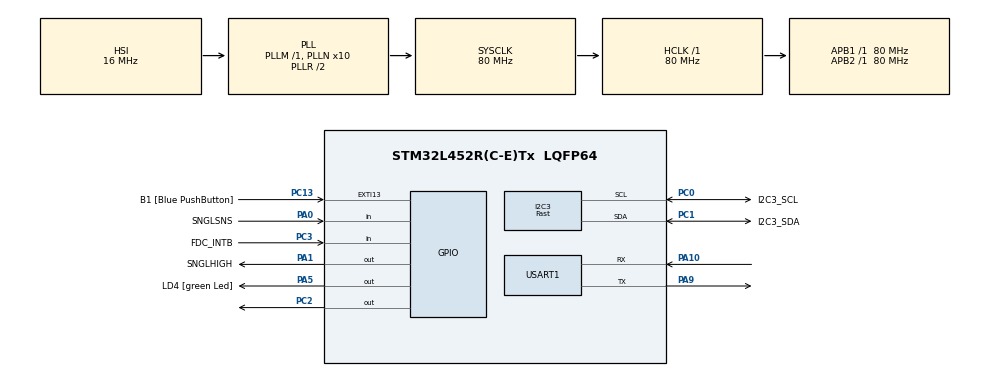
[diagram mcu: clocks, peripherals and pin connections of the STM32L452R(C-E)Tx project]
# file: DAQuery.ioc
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Mcu.Family=STM32L4
PA2.GPIO_PuPd=GPIO_NOPULL
RCC.CortexFreq_Value=80000000
PH0-OSC_IN\ (PH0).Signal=RCC_OSC_IN
PA3.GPIO_PuPd=GPIO_NOPULL
PA0.GPIO_Label=SNGLSNS
PA2.GPIO_Speed=GPIO_SPEED_FREQ_VERY_HIGH
PC0.GPIO_Label=I2C3_SCL
PC15-OSC32_OUT\ (PC15).Mode=LSE-External-Oscillator
PC13.GPIO_Label=B1 [Blue PushButton]
PA3.GPIO_Speed=GPIO_SPEED_FREQ_VERY_HIGH
RCC.SYSCLKSource=RCC_SYSCLKSOURCE_PLLCLK
ProjectManager.StackSize=0x400
PC14-OSC32_IN\ (PC14).Mode=LSE-External-Oscillator
PA14\ (JTCK/SWCLK).Signal=SYS_JTCK-SWCLK
TIM1.Prescaler=32
RCC.HCLKFreq_Value=80000000
RCC.APB2TimFreq_Value=80000000
PC3.Signal=GPIO_Input
PA1.GPIO_PuPd=GPIO_PULLUP
RCC.AHBFreq_Value=80000000
RCC.PREFETCH_ENABLE=1
RCC.HSE_VALUE=8000000
NVIC.I2C3_EV_IRQn=true\:0\:0\:false\:false\:true\:true\:true
PA13\ (JTMS/SWDIO).GPIO_Label=TMS
PA5.GPIO_PuPd=GPIO_NOPULL
PC13.GPIO_PuPd=GPIO_NOPULL
PA14\ (JTCK/SWCLK).Mode=Serial_Wire
VP_TIM1_VS_ClockSourceINT.Mode=Internal
PA0.Signal=GPIO_Input
Mcu.Package=LQFP64
PA0.GPIO_PuPd=GPIO_PULLDOWN
PA2.GPIO_Label=USART_TX
PA10.Signal=USART1_RX
PA1.PinState=GPIO_PIN_SET
PA14\ (JTCK/SWCLK).GPIO_Label=TCK
I2C3.Timing=0x00702991
RCC.APB1TimFreq_Value=80000000
TIM1.Period=3040
NVIC.USART1_IRQn=true\:0\:0\:false\:false\:true\:true\:true
RCC.HSI48_VALUE=48000000
PA3.Signal=USART2_RX
PA2.GPIO_Mode=GPIO_MODE_AF_PP
PB3\ (JTDO/TRACESWO).GPIO_Label=SWO
RCC.MSI_VALUE=4000000
RCC.PLLSourceVirtual=RCC_PLLSOURCE_HSI
PA13\ (JTMS/SWDIO).Mode=Serial_Wire
PA10.Mode=Asynchronous
PC13.Signal=GPXTI13
PC2.Signal=GPIO_Output
PC15-OSC32_OUT\ (PC15).Signal=RCC_OSC32_OUT
PC0.Signal=I2C3_SCL
PH1-OSC_OUT\ (PH1).Signal=RCC_OSC_OUT
PC0.Mode=I2C
USART1.VirtualMode-Asynchronous=VM_ASYNC
TIM1.AutoReloadPreload=TIM_AUTORELOAD_PRELOAD_ENABLE
PA9.Mode=Asynchronous
PB3\ (JTDO/TRACESWO).Signal=SYS_JTDO-SWO
ProjectManager.TargetToolchain=STM32CubeIDE
PA3.GPIO_Mode=GPIO_MODE_AF_PP
PA9.Signal=USART1_TX
RCC.USBFreq_Value=64000000
PA1.Signal=GPIO_Output
PA5.Signal=GPIO_Output
board=NUCLEO-L452RE
RCC.VCOOutputFreq_Value=160000000
RCC.APB2Freq_Value=80000000
PA5.GPIO_ModeDefaultOutputPP=GPIO_MODE_OUTPUT_PP
RCC.ADCFreq_Value=64000000
PC1.GPIO_Label=I2C3_SDA
PA1.GPIO_Label=SNGLHIGH
Mcu.Name=STM32L452R(C-E)Tx
PA2.Signal=USART2_TX
RCC.SYSCLKFreq_VALUE=80000000
PA5.GPIO_Label=LD4 [green Led]
PC13.GPIO_ModeDefaultEXTI=GPIO_MODE_IT_FALLING
PC14-OSC32_IN\ (PC14).Signal=RCC_OSC32_IN
ProjectManager.HeapSize=0x200
RCC.HSI_VALUE=16000000
NVIC.TIM1_UP_TIM16_IRQn=true\:0\:0\:false\:false\:true\:true\:true
PA5.GPIO_Speed=GPIO_SPEED_FREQ_LOW
NVIC.PriorityGroup=NVIC_PRIORITYGROUP_4
RCC.PLLN=10
NVIC.I2C3_ER_IRQn=true\:0\:0\:false\:false\:true\:true\:true
PC3.GPIO_Label=FDC_INTB
I2C3.CustomTiming=Disabled
RCC.APB1Freq_Value=80000000
PC1.Signal=I2C3_SDA
PA13\ (JTMS/SWDIO).Signal=SYS_JTMS-SWDIO
PC1.Mode=I2C
PC3.GPIO_PuPd=GPIO_NOPULL
PA3.GPIO_Label=USART_RX
I2C3.I2C_Speed_Mode=I2C_Fast

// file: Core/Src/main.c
/* USER CODE BEGIN Header */
/**
  ******************************************************************************
  * @file           : main.c
  * @brief          : Main program body
  ******************************************************************************
  * @attention
  *
  * <h2><center>&copy; Copyright (c) 2021 STMicroelectronics.
  * All rights reserved.</center></h2>
  *
  * This software component is licensed by ST under BSD 3-Clause license,
  * the "License"; You may not use this file except in compliance with the
  * License. You may obtain a copy of the License at:
  *                        opensource.org/licenses/BSD-3-Clause
  *
  ******************************************************************************
  */
/* USER CODE END Header */
#include "main.h"

/* USER CODE BEGIN Includes */
#include "GIRAFFE_fdc2114.h"
#include "checksum.h"
/* USER CODE END Includes */

I2C_HandleTypeDef hi2c3;

TIM_HandleTypeDef htim1;

UART_HandleTypeDef huart1;

/* USER CODE BEGIN PV */
uint8_t DO_SCAN = 0;
uint8_t UART_TX_DONE = 0;

GIRAFFE_FDC2114_IT_state_t i2c_state;
/* USER CODE END PV */

void SystemClock_Config(void);
static void MX_GPIO_Init(void);
static void MX_I2C3_Init(void);
static void MX_TIM1_Init(void);
static void MX_USART1_UART_Init(void);
/* USER CODE BEGIN PFP */
void GIRAFFE_UART_Print(UART_HandleTypeDef *huart, char _out[]);
GIRAFFE_i2c_status_t i2c_read_wrapper(uint16_t dev_addr, uint8_t *data, uint16_t len);
GIRAFFE_i2c_status_t i2c_write_wrapper(uint16_t dev_addr, uint8_t *data, uint16_t len);
GIRAFFE_i2c_status_t i2c_read_wrapper_IT(uint16_t dev_addr, uint8_t *data, uint16_t len);
GIRAFFE_i2c_status_t i2c_write_wrapper_IT(uint16_t dev_addr, uint8_t *data, uint16_t len);

void HAL_TIM_PeriodElapsedCallback(TIM_HandleTypeDef *htim);
void HAL_UART_TxCpltCallback(UART_HandleTypeDef *huart);
/* USER CODE END PFP */

int main(void)
{

  /* MCU Configuration--------------------------------------------------------*/

  /* Reset of all peripherals, Initializes the Flash interface and the Systick. */
  HAL_Init();

  /* Configure the system clock */
  SystemClock_Config();

  /* USER CODE BEGIN SysInit */
  __USART2_CLK_ENABLE();
  __I2C3_CLK_ENABLE();

  /* USER CODE END SysInit */

  /* Initialize all configured peripherals */
  MX_GPIO_Init();
  MX_I2C3_Init();
  MX_TIM1_Init();
  MX_USART1_UART_Init();
  /* USER CODE BEGIN 2 */
  HAL_GPIO_WritePin(GPIOA, GPIO_PIN_5, GPIO_PIN_RESET);
  // initialize fdc library
  GIRAFFE_FDC2114_initialize_lib(&i2c_read_wrapper, &i2c_write_wrapper);
  GIRAFFE_FDC2114_initialize_IT(&i2c_read_wrapper_IT, &i2c_write_wrapper_IT);
  HAL_GPIO_WritePin(GPIOC, GPIO_PIN_2, GPIO_PIN_SET); // shutdown
  HAL_Delay(10); //flashy
  HAL_GPIO_TogglePin(GPIOA, GPIO_PIN_5); //flashy
  HAL_GPIO_WritePin(GPIOC, GPIO_PIN_2, GPIO_PIN_RESET); // un-shutdown
  HAL_Delay(10);
  HAL_GPIO_TogglePin(GPIOA, GPIO_PIN_5);
  //Check for differential sensor jumper
  if (HAL_GPIO_ReadPin(GPIOA, GPIO_PIN_0) == GPIO_PIN_SET) // set with jumper to A1
  {
	  GIRAFFE_FDC2114_set_single_ended();
	  for (uint8_t index=0; index<20; index++)
	  {
		  HAL_Delay(100); //flashy
	      HAL_GPIO_TogglePin(GPIOA, GPIO_PIN_5); //flashy
	  }
  }
  GIRAFFE_FDC2114_init_dev(); //not checking if OK, but we could
  /* USER CODE END 2 */

  /* Infinite loop */
  /* USER CODE BEGIN WHILE */
  //uint8_t outstr[] = "0000AABBCCDD"; //four seq/status bytes, 2 bytes per channel
  HAL_StatusTypeDef transmit_status;

  struct packet_data_s
  {
	  uint16_t status;
	  uint16_t seq;
	  GIRAFFE_FDC2114_channel_data_t chan_data;
	  uint16_t crc;
  } next_packet_data;

  union packet_u
  {
	  uint8_t outstr[14];
	  struct packet_data_s packet_data;
  } packet;

  uint8_t startup_message[] = "DOG-TOOTHv03"; // note null termination
  uint16_t packet_payload_crc = crc_16(startup_message, sizeof(startup_message)-1);
  memcpy(packet.outstr, startup_message, sizeof(startup_message)-1);
  packet.packet_data.crc = packet_payload_crc;
  transmit_status = HAL_UART_Transmit(&huart1, packet.outstr, sizeof(packet.outstr), 1000);

  memset(packet.outstr, 0, sizeof(packet.outstr));
  //packet.outstr = "DOG-TOOTHv02";

  HAL_TIM_Base_Start_IT(&htim1);

  while (1)
  {
    /* USER CODE END WHILE */

    /* USER CODE BEGIN 3 */
	if (DO_SCAN)// && HAL_GPIO_ReadPin(GPIOC, FDC_INTB_Pin))
	{
	  transmit_status = HAL_UART_Transmit_IT(&huart1,
	  	               packet.outstr, sizeof(packet.outstr));
	  GIRAFFE_FDC2114_read_channels_IT(&i2c_state);

	  //transmit_status = HAL_UART_Transmit(&huart1, packet.outstr,
	//		  sizeof(packet.outstr), HAL_MAX_DELAY);
	  //GIRAFFE_FDC2114_read_channels(&next_packet_data.chan_data);
	  next_packet_data.status = 0;
	  next_packet_data.seq++;

	  while ((UART_TX_DONE == 0) // while the uart is not done or the i2c is not done (and i2c is in a normal state)
			 || ((i2c_state.num_reads_remaining != 0)
			      && (!GIRAFFE_is_error_severe(i2c_state.error))))
	  {}
	  HAL_GPIO_WritePin(GPIOA, GPIO_PIN_5, GPIO_PIN_RESET);

	  GIRAFFE_FDC2114_get_chan_data_from_state(&i2c_state, &next_packet_data.chan_data);

	  packet.packet_data = next_packet_data; // *copy* data to packet
	  // The union takes care of putting the data in a c string
	  packet_payload_crc = crc_16(packet.outstr, 12); // Calculate checksum on header, seq, and data (12 bytes)
	  packet.packet_data.crc = packet_payload_crc; // sign packet with checksum

	  UART_TX_DONE = 0;
	  DO_SCAN = 0;
	}
	//HAL_Delay(1);

  }
  /* USER CODE END 3 */
}

void SystemClock_Config(void)
{
  RCC_OscInitTypeDef RCC_OscInitStruct = {0};
  RCC_ClkInitTypeDef RCC_ClkInitStruct = {0};
  RCC_PeriphCLKInitTypeDef PeriphClkInit = {0};

  /** Initializes the RCC Oscillators according to the specified parameters
  * in the RCC_OscInitTypeDef structure.
  */
  RCC_OscInitStruct.OscillatorType = RCC_OSCILLATORTYPE_HSI;
  RCC_OscInitStruct.HSIState = RCC_HSI_ON;
  RCC_OscInitStruct.HSICalibrationValue = RCC_HSICALIBRATION_DEFAULT;
  RCC_OscInitStruct.PLL.PLLState = RCC_PLL_ON;
  RCC_OscInitStruct.PLL.PLLSource = RCC_PLLSOURCE_HSI;
  RCC_OscInitStruct.PLL.PLLM = 1;
  RCC_OscInitStruct.PLL.PLLN = 10;
  RCC_OscInitStruct.PLL.PLLP = RCC_PLLP_DIV7;
  RCC_OscInitStruct.PLL.PLLQ = RCC_PLLQ_DIV2;
  RCC_OscInitStruct.PLL.PLLR = RCC_PLLR_DIV2;
  if (HAL_RCC_OscConfig(&RCC_OscInitStruct) != HAL_OK)
  {
    Error_Handler();
  }
  /** Initializes the CPU, AHB and APB buses clocks
  */
  RCC_ClkInitStruct.ClockType = RCC_CLOCKTYPE_HCLK|RCC_CLOCKTYPE_SYSCLK
                              |RCC_CLOCKTYPE_PCLK1|RCC_CLOCKTYPE_PCLK2;
  RCC_ClkInitStruct.SYSCLKSource = RCC_SYSCLKSOURCE_PLLCLK;
  RCC_ClkInitStruct.AHBCLKDivider = RCC_SYSCLK_DIV1;
  RCC_ClkInitStruct.APB1CLKDivider = RCC_HCLK_DIV1;
  RCC_ClkInitStruct.APB2CLKDivider = RCC_HCLK_DIV1;

  if (HAL_RCC_ClockConfig(&RCC_ClkInitStruct, FLASH_LATENCY_4) != HAL_OK)
  {
    Error_Handler();
  }
  PeriphClkInit.PeriphClockSelection = RCC_PERIPHCLK_USART1|RCC_PERIPHCLK_I2C3;
  PeriphClkInit.Usart1ClockSelection = RCC_USART1CLKSOURCE_PCLK2;
  PeriphClkInit.I2c3ClockSelection = RCC_I2C3CLKSOURCE_PCLK1;
  if (HAL_RCCEx_PeriphCLKConfig(&PeriphClkInit) != HAL_OK)
  {
    Error_Handler();
  }
  /** Configure the main internal regulator output voltage
  */
  if (HAL_PWREx_ControlVoltageScaling(PWR_REGULATOR_VOLTAGE_SCALE1) != HAL_OK)
  {
    Error_Handler();
  }
}

static void MX_I2C3_Init(void)
{

  hi2c3.Instance = I2C3;
  hi2c3.Init.Timing = 0x00702991;
  hi2c3.Init.OwnAddress1 = 0;
  hi2c3.Init.AddressingMode = I2C_ADDRESSINGMODE_7BIT;
  hi2c3.Init.DualAddressMode = I2C_DUALADDRESS_DISABLE;
  hi2c3.Init.OwnAddress2 = 0;
  hi2c3.Init.OwnAddress2Masks = I2C_OA2_NOMASK;
  hi2c3.Init.GeneralCallMode = I2C_GENERALCALL_DISABLE;
  hi2c3.Init.NoStretchMode = I2C_NOSTRETCH_DISABLE;
  if (HAL_I2C_Init(&hi2c3) != HAL_OK)
  {
    Error_Handler();
  }
  /** Configure Analogue filter
  */
  if (HAL_I2CEx_ConfigAnalogFilter(&hi2c3, I2C_ANALOGFILTER_ENABLE) != HAL_OK)
  {
    Error_Handler();
  }
  /** Configure Digital filter
  */
  if (HAL_I2CEx_ConfigDigitalFilter(&hi2c3, 0) != HAL_OK)
  {
    Error_Handler();
  }

}

static void MX_TIM1_Init(void)
{

  TIM_ClockConfigTypeDef sClockSourceConfig = {0};
  TIM_MasterConfigTypeDef sMasterConfig = {0};

  htim1.Instance = TIM1;
  htim1.Init.Prescaler = 32;
  htim1.Init.CounterMode = TIM_COUNTERMODE_UP;
  htim1.Init.Period = 3040;
  htim1.Init.ClockDivision = TIM_CLOCKDIVISION_DIV1;
  htim1.Init.RepetitionCounter = 0;
  htim1.Init.AutoReloadPreload = TIM_AUTORELOAD_PRELOAD_ENABLE;
  if (HAL_TIM_Base_Init(&htim1) != HAL_OK)
  {
    Error_Handler();
  }
  sClockSourceConfig.ClockSource = TIM_CLOCKSOURCE_INTERNAL;
  if (HAL_TIM_ConfigClockSource(&htim1, &sClockSourceConfig) != HAL_OK)
  {
    Error_Handler();
  }
  sMasterConfig.MasterOutputTrigger = TIM_TRGO_RESET;
  sMasterConfig.MasterOutputTrigger2 = TIM_TRGO2_RESET;
  sMasterConfig.MasterSlaveMode = TIM_MASTERSLAVEMODE_DISABLE;
  if (HAL_TIMEx_MasterConfigSynchronization(&htim1, &sMasterConfig) != HAL_OK)
  {
    Error_Handler();
  }

}

static void MX_USART1_UART_Init(void)
{

  huart1.Instance = USART1;
  huart1.Init.BaudRate = 115200;
  huart1.Init.WordLength = UART_WORDLENGTH_8B;
  huart1.Init.StopBits = UART_STOPBITS_1;
  huart1.Init.Parity = UART_PARITY_NONE;
  huart1.Init.Mode = UART_MODE_TX_RX;
  huart1.Init.HwFlowCtl = UART_HWCONTROL_NONE;
  huart1.Init.OverSampling = UART_OVERSAMPLING_16;
  huart1.Init.OneBitSampling = UART_ONE_BIT_SAMPLE_DISABLE;
  huart1.AdvancedInit.AdvFeatureInit = UART_ADVFEATURE_NO_INIT;
  if (HAL_UART_Init(&huart1) != HAL_OK)
  {
    Error_Handler();
  }

}

static void MX_GPIO_Init(void)
{
  GPIO_InitTypeDef GPIO_InitStruct = {0};

  /* GPIO Ports Clock Enable */
  __HAL_RCC_GPIOC_CLK_ENABLE();
  __HAL_RCC_GPIOH_CLK_ENABLE();
  __HAL_RCC_GPIOA_CLK_ENABLE();
  __HAL_RCC_GPIOB_CLK_ENABLE();

  /*Configure GPIO pin Output Level */
  HAL_GPIO_WritePin(GPIOC, GPIO_PIN_2, GPIO_PIN_RESET);

  /*Configure GPIO pin Output Level */
  HAL_GPIO_WritePin(SNGLHIGH_GPIO_Port, SNGLHIGH_Pin, GPIO_PIN_SET);

  /*Configure GPIO pin Output Level */
  HAL_GPIO_WritePin(LD4_GPIO_Port, LD4_Pin, GPIO_PIN_RESET);

  /*Configure GPIO pin : B1_Pin */
  GPIO_InitStruct.Pin = B1_Pin;
  GPIO_InitStruct.Mode = GPIO_MODE_IT_FALLING;
  GPIO_InitStruct.Pull = GPIO_NOPULL;
  HAL_GPIO_Init(B1_GPIO_Port, &GPIO_InitStruct);

  /*Configure GPIO pin : PC2 */
  GPIO_InitStruct.Pin = GPIO_PIN_2;
  GPIO_InitStruct.Mode = GPIO_MODE_OUTPUT_PP;
  GPIO_InitStruct.Pull = GPIO_NOPULL;
  GPIO_InitStruct.Speed = GPIO_SPEED_FREQ_LOW;
  HAL_GPIO_Init(GPIOC, &GPIO_InitStruct);

  /*Configure GPIO pin : FDC_INTB_Pin */
  GPIO_InitStruct.Pin = FDC_INTB_Pin;
  GPIO_InitStruct.Mode = GPIO_MODE_INPUT;
  GPIO_InitStruct.Pull = GPIO_NOPULL;
  HAL_GPIO_Init(FDC_INTB_GPIO_Port, &GPIO_InitStruct);

  /*Configure GPIO pin : SNGLSNS_Pin */
  GPIO_InitStruct.Pin = SNGLSNS_Pin;
  GPIO_InitStruct.Mode = GPIO_MODE_INPUT;
  GPIO_InitStruct.Pull = GPIO_PULLDOWN;
  HAL_GPIO_Init(SNGLSNS_GPIO_Port, &GPIO_InitStruct);

  /*Configure GPIO pin : SNGLHIGH_Pin */
  GPIO_InitStruct.Pin = SNGLHIGH_Pin;
  GPIO_InitStruct.Mode = GPIO_MODE_OUTPUT_PP;
  GPIO_InitStruct.Pull = GPIO_PULLUP;
  GPIO_InitStruct.Speed = GPIO_SPEED_FREQ_LOW;
  HAL_GPIO_Init(SNGLHIGH_GPIO_Port, &GPIO_InitStruct);

  /*Configure GPIO pins : USART_TX_Pin USART_RX_Pin */
  GPIO_InitStruct.Pin = USART_TX_Pin|USART_RX_Pin;
  GPIO_InitStruct.Mode = GPIO_MODE_AF_PP;
  GPIO_InitStruct.Pull = GPIO_NOPULL;
  GPIO_InitStruct.Speed = GPIO_SPEED_FREQ_VERY_HIGH;
  GPIO_InitStruct.Alternate = GPIO_AF7_USART2;
  HAL_GPIO_Init(GPIOA, &GPIO_InitStruct);

  /*Configure GPIO pin : LD4_Pin */
  GPIO_InitStruct.Pin = LD4_Pin;
  GPIO_InitStruct.Mode = GPIO_MODE_OUTPUT_PP;
  GPIO_InitStruct.Pull = GPIO_NOPULL;
  GPIO_InitStruct.Speed = GPIO_SPEED_FREQ_LOW;
  HAL_GPIO_Init(LD4_GPIO_Port, &GPIO_InitStruct);

}

/* USER CODE BEGIN 4 */
void GIRAFFE_UART_Print(UART_HandleTypeDef *huart, char _out[])
{
	HAL_UART_Transmit(huart, (uint8_t *) _out, strlen(_out), 10);
}

GIRAFFE_i2c_status_t i2c_read_wrapper(uint16_t dev_addr, uint8_t *data, uint16_t len)
{
	if (HAL_I2C_Master_Receive(&hi2c3, dev_addr, data, len, HAL_MAX_DELAY) == HAL_OK)
	return I2C_OK;
	else return I2C_ERROR;
}

GIRAFFE_i2c_status_t i2c_write_wrapper(uint16_t dev_addr, uint8_t *data, uint16_t len)
{
	if (HAL_I2C_Master_Transmit(&hi2c3, dev_addr, data, len, HAL_MAX_DELAY) == HAL_OK)
	return I2C_OK;
	else return I2C_ERROR;
}

GIRAFFE_i2c_status_t i2c_read_wrapper_IT(uint16_t dev_addr, uint8_t *data, uint16_t len)
{
	if (HAL_I2C_Master_Receive_IT(&hi2c3, dev_addr, data, len) == HAL_OK)
	return I2C_OK;
	else return I2C_ERROR;
}

GIRAFFE_i2c_status_t i2c_write_wrapper_IT(uint16_t dev_addr, uint8_t *data, uint16_t len)
{
	if (HAL_I2C_Master_Transmit_IT(&hi2c3, dev_addr, data, len) == HAL_OK)
	return I2C_OK;
	else return I2C_ERROR;
}

void HAL_TIM_PeriodElapsedCallback(TIM_HandleTypeDef *htim)
{
	  if (GIRAFFE_is_error_severe(i2c_state.error))
      {
		  HAL_GPIO_WritePin(GPIOA, GPIO_PIN_5, GPIO_PIN_RESET);
	  }
	  else
	  {
		  //HAL_GPIO_TogglePin(GPIOA, GPIO_PIN_5); //flashy
		  HAL_GPIO_WritePin(GPIOA, GPIO_PIN_5, GPIO_PIN_SET);
	  }
      DO_SCAN = 1;
}

void HAL_UART_TxCpltCallback(UART_HandleTypeDef *huart)
{
	UART_TX_DONE = 1;
}

void HAL_I2C_MasterTxCpltCallback(I2C_HandleTypeDef *hi2c)
{
	GIRAFFE_FDC2114_write_clbk(&i2c_state);
}

void HAL_I2C_MasterRxCpltCallback(I2C_HandleTypeDef *hi2c)
{
	GIRAFFE_FDC2114_read_clbk(&i2c_state);
}

void HAL_I2C_ErrorCallback(I2C_HandleTypeDef *hi2c)
{
	switch (hi2c->ErrorCode)
	{
	case HAL_I2C_ERROR_AF:
    case HAL_I2C_ERROR_ARLO:
    case HAL_I2C_ERROR_BERR:
    	i2c_state.error = BUS_ERROR;
    	break;
    default:
    	i2c_state.error = OTHER_ERROR;
	}
}
/* USER CODE END 4 */

void Error_Handler(void)
{
  __disable_irq();
  while (1)
  {
  }
}

/************************ (C) COPYRIGHT STMicroelectronics *****END OF FILE****/
